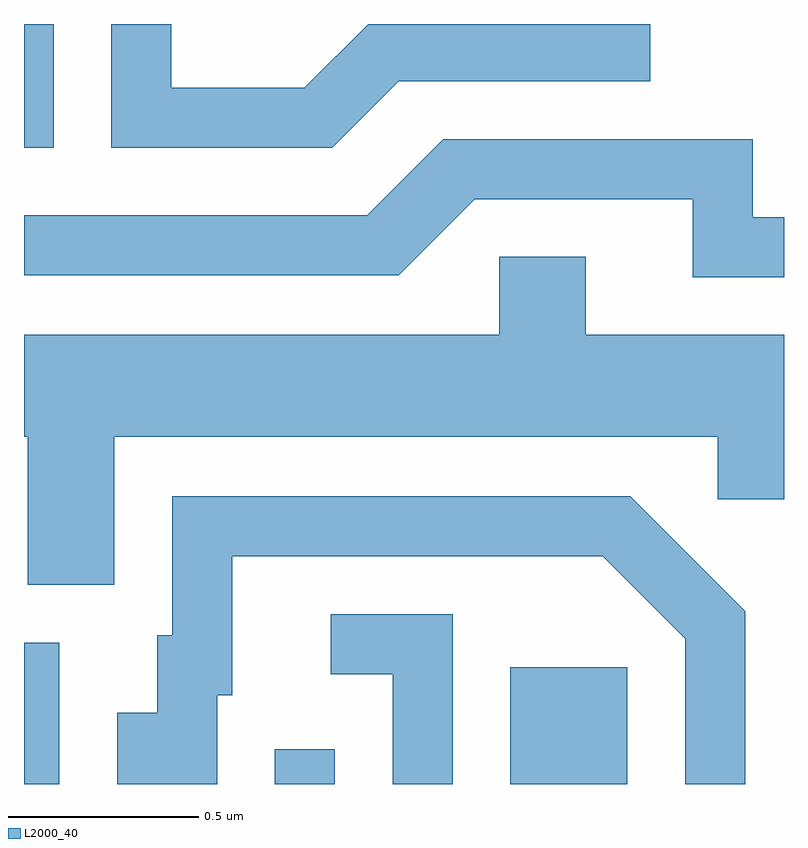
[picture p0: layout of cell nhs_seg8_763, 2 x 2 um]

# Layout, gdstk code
import gdstk
lib = gdstk.Library(unit=1e-6, precision=1e-09)
def R(c, l, rs):  # rectangles x0, y0, x1, y1
    for r in rs: c.add(gdstk.rectangle(r[:2], r[2:], *l))
def P(c, l, *ps):  # polygons
    for p in ps: c.add(gdstk.Polygon(p, *l))
L2000_40 = (2000, 40)

nhs_seg8_763 = lib.new_cell('nhs_seg8_763')
R(nhs_seg8_763, L2000_40, [(190.611,1884.342,190.704,1884.714), (191.271,1884.342,191.429,1884.433), (191.891,1884.342,192.199,1884.649), (190.611,1886.016,190.689,1886.342)])
P(nhs_seg8_763, L2000_40, [(191.597,1886.191),(192.259,1886.191),(192.259,1886.342),(191.517,1886.342),(191.349,1886.174),(190.999,1886.174),(190.999,1886.342),(190.841,1886.342),(190.841,1886.016),(191.422,1886.016)],
  [(192.611,1885.834),(192.529,1885.834),(192.529,1886.039),(191.714,1886.039),(191.514,1885.839),(190.611,1885.839),(190.611,1885.681),(191.597,1885.681),(191.797,1885.881),(192.371,1885.881),(192.371,1885.676),(192.611,1885.676)],
  [(190.849,1885.256),(192.436,1885.256),(192.436,1885.091),(192.611,1885.091),(192.611,1885.524),(192.089,1885.524),(192.089,1885.729),(191.861,1885.729),(191.861,1885.524),(190.611,1885.524),(190.611,1885.256),(190.621,1885.256),(190.621,1884.866),(190.849,1884.866)],
  [(191.119,1884.576),(191.159,1884.576),(191.159,1884.941),(192.134,1884.941),(192.351,1884.724),(192.351,1884.342),(192.509,1884.342),(192.509,1884.797),(192.207,1885.099),(191.001,1885.099),(191.001,1884.734),(190.961,1884.734),(190.961,1884.529),(190.856,1884.529),(190.856,1884.342),(191.119,1884.342)],
  [(191.739,1884.789),(191.418,1884.789),(191.418,1884.631),(191.581,1884.631),(191.581,1884.342),(191.739,1884.342)])

lib.write_gds('nhs_seg8_763.gds')
